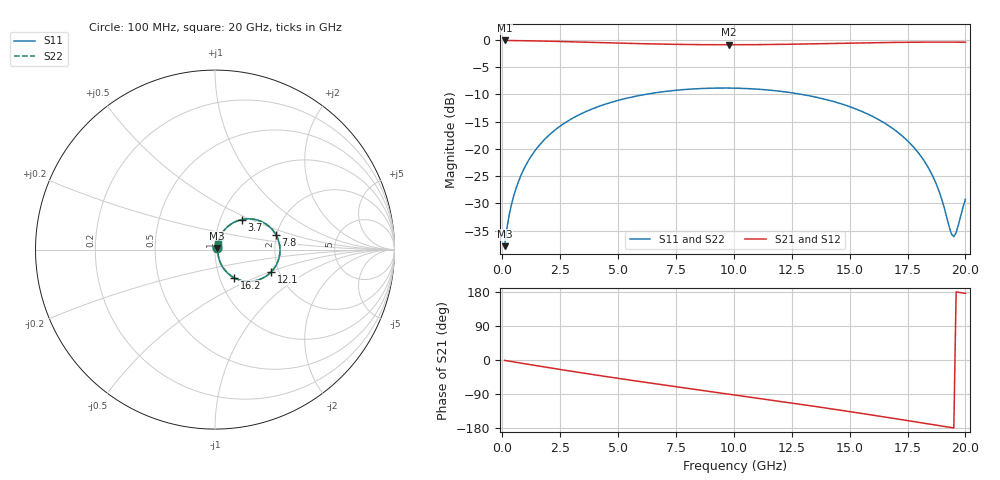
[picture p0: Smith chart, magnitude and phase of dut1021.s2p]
! Touchstone file exported from HFSS 2026.1.0
!  File:  C:/ffzhzh/LocalFiles/Ansys_Project_Files/temp_train_TSV_RDL_1021_1783292689_38704.aedt
!  Generated:  07:12:46 AM Jul  6, 2026
!  Design:  TSV_RDL
!  Project:  temp_train_TSV_RDL_1021_1783292689_38704
! Variables:
!  h_bsmrdl = 4.61um
!  h_ox = 20um
!  h_rdl = 5um
!  h_sub = 51.6um
!  h_tmrdl = 5.69um
!  h_tsv = 51.6um
!  h_via = 3um
!  l_bsmrdl = 359.78um
!  l_sub = 3349.71um
!  l_tmrdl = 431.12um
!  m_sub = 200um
!  pitch = 40.03um
!  r_tsv = 6.45um
!  s_tmrdl = 10um
!  w_bsmrdl = 23.91um
!  w_sub = 500um
!  w_tmrdl = 24.72um
!  x_tsv_center1 = 443.48um
!  x_tsv_center2 = 827.17um
!  x_tsv_center3 = 1283.01um
!  x_tsv_center4 = 1666.7um
!  x_tsv_center5 = 2122.54um
!  x_tsv_center6 = 2506.23um
# GHz S MA R 50.000000
! Terminal data exported
! Port[1] = TM_RDL1_1_T1
! Port[2] = TM_RDL5_1_T1
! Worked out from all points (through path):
!   200 points, 100 MHz to 20 GHz, reference 50 ohm
!   highest |S21| = -0.09 dB at 100 MHz (marker M1); lowest = -0.9 dB at 9.8 GHz (marker M2)
!   group delay of S21, straight-line fit = 25 ps
!   lowest |S11| = -37.8 dB at 100 MHz (marker M3), VSWR 1.03, Z = 51 + j0.794 ohm
!   |S11| at or under -10 dB: start of sweep to 6.16 GHz; 12.95 GHz to end of sweep
!   |S22| runs from -37.8 to -8.8 dB; largest |S21 - S12| = 1.2e-13
!   S11 on the Smith chart (normalised r, x): 100 MHz: 1.02, +0.02; 3.7 GHz: 1.26, +0.45; 7.8 GHz: 1.99, +0.37; 12.1 GHz: 1.81, -0.51; 16.2 GHz: 1.17, -0.38; 20 GHz: 1.04, +0.06
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0.1  0.01282 37.4  0.9899 -1.1  0.9899 -1.1  0.01282 37.4
! Gamma 0 0 0 0
! Port Impedance 50 0 50 0
0.3  0.0249 59.3  0.9882 -3.2  0.9882 -3.2  0.0249 59.3
0.5  0.0375 65.7  0.9869 -5.2  0.9869 -5.2  0.0375 65.7
1.1  0.07637 68.5  0.9831 -11.2  0.9831 -11.2  0.07637 68.5
2.1  0.1388 62.1  0.9737 -21.1  0.9737 -21.1  0.1388 62.1
3.5  0.2149 50.0  0.9559 -34.6  0.9559 -34.6  0.2149 50.0
3.7  0.2245 48.2  0.9532 -36.4  0.9532 -36.4  0.2245 48.2
6.8  0.332 21.7  0.9171 -64.4  0.9171 -64.4  0.332 21.7
7.8  0.35 13.4  0.9099 -73.0  0.9099 -73.0  0.35 13.4
9.8  0.362 -3.0  0.9041 -90.2  0.9041 -90.2  0.362 -2.9
10.1  0.3611 -5.4  0.9043 -92.8  0.9043 -92.8  0.3611 -5.4
12.1  0.3364 -21.9  0.9117 -110.0  0.9117 -110.0  0.3364 -21.8
13.4  0.3033 -32.7  0.9212 -121.5  0.9212 -121.5  0.3032 -32.7
16.2  0.1886 -56.0  0.9451 -147.4  0.9451 -147.4  0.1886 -55.9
16.7  0.1627 -59.8  0.9487 -152.2  0.9487 -152.2  0.1627 -59.7
17.7  0.1076 -66.4  0.954 -161.8  0.954 -161.8  0.1076 -66.2
18.4  0.06728 -67.9  0.956 -168.6  0.956 -168.6  0.06731 -67.6
18.8  0.04437 -64.5  0.9565 -172.5  0.9565 -172.5  0.04444 -64.1
19.4  0.01655 -19.7  0.9561 -178.4  0.9561 -178.4  0.01681 -19.2
19.5  0.01569 0.7  0.9559 -179.3  0.9559 -179.3  0.01597 0.8
19.6  0.01705 20.5  0.9557 179.7  0.9557 179.7  0.01733 20.2
20  0.03454 56.5  0.9545 175.8  0.9545 175.8  0.0347 56.1
